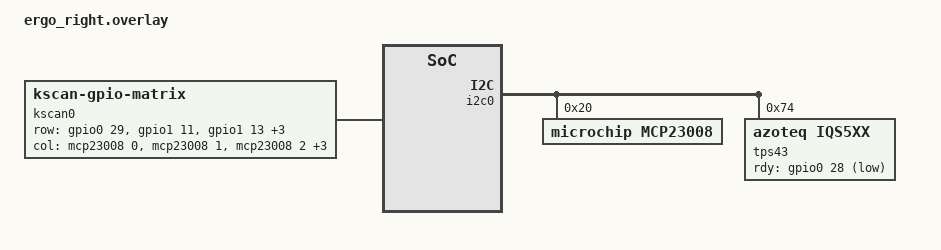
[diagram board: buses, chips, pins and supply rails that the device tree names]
/*
 * RIGHT half = split CENTRAL (it carries the trackpad).
 * Occupies logical columns 5..10, so the shared transform is shifted by 5.
 * Because the trackpad is on the central, it is an ordinary local pointing
 * device: no zmk,input-split / peripheral relay is required.
 */

#include <zephyr/dt-bindings/gpio/gpio.h>
#include <zephyr/dt-bindings/pinctrl/nrf-pinctrl.h>
#include <zephyr/dt-bindings/input/input-event-codes.h>
#include <dt-bindings/zmk/input_transform.h>
#include "ergo.dtsi"

/* Shift this half into logical columns 5..10. */
&default_transform {
    col-offset = <5>;
};

&i2c0 {
    mcp23008: mcp23008@20 {
        compatible = "microchip,mcp23008";
        status = "okay";
        reg = <0x20>;
        gpio-controller;
        #gpio-cells = <2>;
    };

    tps43: tps43@74 {
        compatible = "azoteq,iqs5xx";
        status = "okay";
        reg = <0x74>;
        rdy-gpios = <&gpio0 28 (GPIO_ACTIVE_LOW | GPIO_PULL_UP)>;
        /* reset-gpios intentionally omitted: gpio0 2 is the encoder A pin
           (encoder is defined in the shared ergo.dtsi). The IQS5xx resets
           itself on power-up, so an explicit reset line isn't required. */
        scroll; /* two-finger scroll */
    };
};

/ {
    chosen {
        zmk,kscan = &kscan0;
    };

    kscan0: kscan {
        compatible = "zmk,kscan-gpio-matrix";
        diode-direction = "col2row";
        wakeup-source;

        row-gpios
            = <&gpio0 29 (GPIO_ACTIVE_HIGH | GPIO_PULL_DOWN)> /* Row 0: D3 */
            , <&gpio1 11 (GPIO_ACTIVE_HIGH | GPIO_PULL_DOWN)> /* Row 1: D6 */
            , <&gpio1 13 (GPIO_ACTIVE_HIGH | GPIO_PULL_DOWN)> /* Row 2: D8 */
            , <&gpio1 14 (GPIO_ACTIVE_HIGH | GPIO_PULL_DOWN)> /* Row 3: D9 */
            , <&gpio1 15 (GPIO_ACTIVE_HIGH | GPIO_PULL_DOWN)> /* Row 4: D10 */
            , <&gpio1 12 (GPIO_ACTIVE_HIGH | GPIO_PULL_DOWN)> /* Row 5: D7 */
            ;

        col-gpios
            = <&mcp23008 0 GPIO_ACTIVE_HIGH>
            , <&mcp23008 1 GPIO_ACTIVE_HIGH>
            , <&mcp23008 2 GPIO_ACTIVE_HIGH>
            , <&mcp23008 3 GPIO_ACTIVE_HIGH>
            , <&mcp23008 4 GPIO_ACTIVE_HIGH>
            , <&mcp23008 5 GPIO_ACTIVE_HIGH>
            ;
    };

    /* Cursor movement transform */
    trackpad_transform: trackpad_transform {
        compatible = "zmk,input-processor-transform";
        #input-processor-cells = <1>;
        type = <INPUT_EV_REL>;
        x-codes = <INPUT_REL_X>;
        y-codes = <INPUT_REL_Y>;
    };

    /* Dedicated scroll transform */
    trackpad_scroll_transform: trackpad_scroll_transform {
        compatible = "zmk,input-processor-transform";
        #input-processor-cells = <1>;
        type = <INPUT_EV_REL>;
        x-codes = <INPUT_REL_HWHEEL>;
        y-codes = <INPUT_REL_WHEEL>;
    };

    trackpad_listener {
        compatible = "zmk,input-listener";
        device = <&tps43>;
        input-processors =
            <&trackpad_transform (INPUT_TRANSFORM_XY_SWAP | INPUT_TRANSFORM_X_INVERT)>,
            <&trackpad_scroll_transform (INPUT_TRANSFORM_XY_SWAP | INPUT_TRANSFORM_Y_INVERT)>;
    };
};
